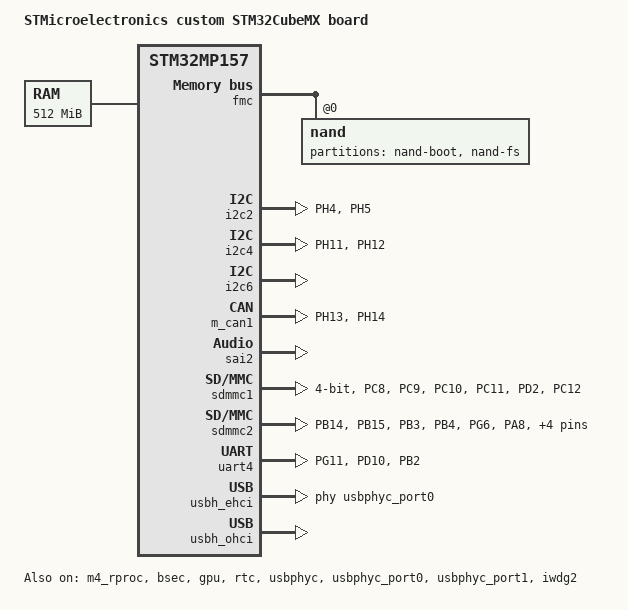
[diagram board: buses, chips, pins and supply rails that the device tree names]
/* SPDX-License-Identifier: (GPL-2.0+ OR BSD-3-Clause) */
/*
 * Copyright (C) STMicroelectronics 2019 - All Rights Reserved
 * Author: STM32CubeMX code generation for STMicroelectronics.
 */

/dts-v1/;
#include "stm32mp157c.dtsi"
#include "stm32mp157c-m4-srm.dtsi"
#include "stm32mp157caa-pinctrl.dtsi"
#include <dt-bindings/gpio/gpio.h>

/* USER CODE BEGIN includes */
/* USER CODE END includes */

/ {
	model = "STMicroelectronics custom STM32CubeMX board";
	compatible = "st,stm32mp157a-icorestm32-mx", "st,stm32mp157";
#if 0
    config {
            st,reset-phy-gpios = <&gpiod 10 GPIO_ACTIVE_LOW>;
    };
#endif
    memory@c0000000 {
        reg = <0xc0000000 0x20000000>;

        /* USER CODE BEGIN memory */
        /* USER CODE END memory */
    };

    reserved-memory {
        #address-cells = <1>;
        #size-cells = <1>;
        ranges;

        /* USER CODE BEGIN reserved-memory */
        /* USER CODE END reserved-memory */

        gpu_reserved: gpu@dc000000 {
            reg = <0xdc000000 0x4000000>;
            no-map;
        };
    };

	/* USER CODE BEGIN root */
    aliases {
		ethernet0 = &ethernet0;
		serial0 = &uart4;
	};

	chosen {
		stdout-path = "serial0:115200n8";
	};
	/* USER CODE END root */

    clocks {
        /* USER CODE BEGIN clocks */
        /* USER CODE END clocks */

        clk_lsi: clk-lsi {
            clock-frequency = <32000>;
        };
        clk_hsi: clk-hsi {
            clock-frequency = <64000000>;
        };
        clk_csi: clk-csi {
            clock-frequency = <4000000>;
        };
        clk_hse: clk-hse {
            clock-frequency = <24000000>;
        };
    };

}; /*root*/

&pinctrl {
    u-boot,dm-pre-reloc;
    eth1_pins_mx: eth1_mx-0 {
				pins-1 {
					pinmux =  <STM32_PINMUX('A', 1, AF0)>, /* ETH_CLK */
						 <STM32_PINMUX('A', 2, AF11)>, /* ETH_MDIO */
						 <STM32_PINMUX('C', 1, AF11)>, /* ETH_MDC */
						 <STM32_PINMUX('A', 7, AF11)>, /* ETH_RX_DV */
						 <STM32_PINMUX('B', 11, AF11)>, /* ETH_TX_EN */
						 <STM32_PINMUX('C', 4, AF11)>, /* ETH_RX_D0 */
						 <STM32_PINMUX('C', 5, AF11)>, /* ETH_RX_D1 */
						 <STM32_PINMUX('G', 13, AF11)>, /* ETH_TX_D0 */
						 <STM32_PINMUX('G', 14, AF11)>, /* ETH_TX_D1 */
						 <STM32_PINMUX('D', 10, GPIO)>;
					bias-disable;
					drive-push-pull;
					slew-rate = <3>;
				};
		
	pins-2 {
                    pinmux = <STM32_PINMUX('D', 10, GPIO)>;
                    bias-pull-up;
                    drive-push-pull;
                    output-low;
                    slew-rate = <0>;
				};
    };

    fdcan1_pins_mx: fdcan1_mx-0 {
        pins1 {
            pinmux = <STM32_PINMUX('H', 13, AF9)>; /* FDCAN1_TX */
            bias-disable;
            drive-push-pull;
            slew-rate = <0>;
        };
        pins2 {
            pinmux = <STM32_PINMUX('H', 14, AF9)>; /* FDCAN1_RX */
            bias-disable;
        };
    };
    fmc_pins_mx: fmc_mx-0 {
        u-boot,dm-pre-reloc;
        pins1 {
            u-boot,dm-pre-reloc;
            pinmux = <STM32_PINMUX('D', 0, AF12)>, /* FMC_D2 */
                     <STM32_PINMUX('D', 1, AF12)>, /* FMC_D3 */
                     <STM32_PINMUX('D', 4, AF12)>, /* FMC_NOE */
                     <STM32_PINMUX('D', 5, AF12)>, /* FMC_NWE */
                     <STM32_PINMUX('D', 11, AF12)>, /* FMC_CLE */
                     <STM32_PINMUX('D', 12, AF12)>, /* FMC_ALE */
                     <STM32_PINMUX('D', 14, AF12)>, /* FMC_D0 */
                     <STM32_PINMUX('D', 15, AF12)>, /* FMC_D1 */
                     <STM32_PINMUX('E', 7, AF12)>, /* FMC_D4 */
                     <STM32_PINMUX('E', 8, AF12)>, /* FMC_D5 */
                     <STM32_PINMUX('E', 9, AF12)>, /* FMC_D6 */
                     <STM32_PINMUX('E', 10, AF12)>, /* FMC_D7 */
                     <STM32_PINMUX('G', 9, AF12)>; /* FMC_NCE */
            bias-disable;
            drive-push-pull;
            slew-rate = <1>;
        };
        pins2 {
            u-boot,dm-pre-reloc;
            pinmux = <STM32_PINMUX('D', 6, AF12)>; /* FMC_NWAIT */
            bias-disable;
        };
    };
    i2c2_pins_mx: i2c2_mx-0 {
        pins {
            pinmux = <STM32_PINMUX('H', 4, AF4)>, /* I2C2_SCL */
                     <STM32_PINMUX('H', 5, AF4)>; /* I2C2_SDA */
            bias-disable;
            drive-open-drain;
            slew-rate = <0>;
        };
    };
    i2c4_pins_mx: i2c4_mx-0 {
        pins {
            pinmux = <STM32_PINMUX('H', 11, AF4)>, /* I2C4_SCL */
                     <STM32_PINMUX('H', 12, AF4)>; /* I2C4_SDA */
            bias-disable;
            drive-open-drain;
            slew-rate = <0>;
        };
    };
    sai2a_pins_mx: sai2a_mx-0 {
        pins {
            pinmux = <STM32_PINMUX('E', 0, AF10)>, /* SAI2_MCLK_A */
                     <STM32_PINMUX('I', 5, AF10)>, /* SAI2_SCK_A */
                     <STM32_PINMUX('I', 6, AF10)>, /* SAI2_SD_A */
                     <STM32_PINMUX('I', 7, AF10)>; /* SAI2_FS_A */
            bias-disable;
            drive-push-pull;
            slew-rate = <0>;
        };
    };
    sai2b_pins_mx: sai2b_mx-0 {
        pins {
            pinmux = <STM32_PINMUX('C', 0, AF8)>, /* SAI2_FS_B */
                     <STM32_PINMUX('E', 6, AF10)>, /* SAI2_MCLK_B */
                     <STM32_PINMUX('F', 11, AF10)>, /* SAI2_SD_B */
                     <STM32_PINMUX('H', 2, AF10)>; /* SAI2_SCK_B */
            bias-disable;
            drive-push-pull;
            slew-rate = <0>;
        };
    };
    sdmmc1_pins_mx: sdmmc1_mx-0 {
        u-boot,dm-pre-reloc;
        pins1 {
            u-boot,dm-pre-reloc;
            pinmux = <STM32_PINMUX('C', 8, AF12)>, /* SDMMC1_D0 */
                     <STM32_PINMUX('C', 9, AF12)>, /* SDMMC1_D1 */
                     <STM32_PINMUX('C', 10, AF12)>, /* SDMMC1_D2 */
                     <STM32_PINMUX('C', 11, AF12)>, /* SDMMC1_D3 */
                     <STM32_PINMUX('D', 2, AF12)>; /* SDMMC1_CMD */
            bias-pull-up;
            drive-push-pull;
            slew-rate = <1>;
        };
        pins2 {
            u-boot,dm-pre-reloc;
            pinmux = <STM32_PINMUX('C', 12, AF12)>; /* SDMMC1_CK */
            bias-disable;
            drive-push-pull;
            slew-rate = <3>;
        };
    };
    sdmmc2_pins_mx: sdmmc2_mx-0 {
        u-boot,dm-pre-reloc;
        pins1 {
            u-boot,dm-pre-reloc;
            pinmux = <STM32_PINMUX('B', 14, AF9)>, /* SDMMC2_D0 */
                    <STM32_PINMUX('B', 15, AF9)>, /* SDMMC2_D1 */
                    <STM32_PINMUX('B', 3, AF9)>, /* SDMMC2_D2 */
                    <STM32_PINMUX('B', 4, AF9)>, /* SDMMC2_D3 */
                    <STM32_PINMUX('G', 6, AF10)>, /* SDMMC2_CMD */
                    <STM32_PINMUX('A', 8, AF9)>, /* SDMMC2_D4 */
                    <STM32_PINMUX('A', 9, AF10)>, /* SDMMC2_D5 */
                    <STM32_PINMUX('E', 5, AF9)>, /* SDMMC2_D6 */
                    <STM32_PINMUX('D', 3, AF9)>; /* SDMMC2_D7 */
            slew-rate = <3>;
            drive-push-pull;
            bias-pull-up;
        };
        pins2 {
            u-boot,dm-pre-reloc;
            pinmux = <STM32_PINMUX('E', 3, AF9)>; /* SDMMC2_CK */
            bias-disable;
            drive-push-pull;
            slew-rate = <3>;
        };
    };

    uart4_pins_mx: uart4_mx-0 {
        u-boot,dm-pre-reloc;
        pins1 {
            u-boot,dm-pre-reloc;
            pinmux = <STM32_PINMUX('G', 11, AF6)>, /* UART4_TX */
                     <STM32_PINMUX('D', 10, GPIO)>;
            bias-disable;
            drive-push-pull;
            slew-rate = <0>;
        };
        pins2 {
            u-boot,dm-pre-reloc;
            pinmux = <STM32_PINMUX('B', 2, AF8)>; /* UART4_RX */
            bias-disable;
        };
    };
    eth1_sleep_pins_mx: eth1_sleep_mx-0 {
        pins {
            pinmux = <STM32_PINMUX('A', 1, ANALOG)>, /* ETH1_CLK */
                     <STM32_PINMUX('A', 2, ANALOG)>, /* ETH1_MDIO */
                     <STM32_PINMUX('A', 7, ANALOG)>, /* ETH1_CRS_DV */
                     <STM32_PINMUX('B', 11, ANALOG)>, /* ETH1_TX_EN */
                     <STM32_PINMUX('C', 1, ANALOG)>, /* ETH1_MDC */
                     <STM32_PINMUX('C', 4, ANALOG)>, /* ETH1_RXD0 */
                     <STM32_PINMUX('C', 5, ANALOG)>, /* ETH1_RXD1 */
                     <STM32_PINMUX('G', 8, ANALOG)>, /* ETH1_PPS_OUT */
                     <STM32_PINMUX('G', 13, ANALOG)>, /* ETH1_TXD0 */
                     <STM32_PINMUX('G', 14, ANALOG)>; /* ETH1_TXD1 */
        };
    };
    fdcan1_sleep_pins_mx: fdcan1_sleep_mx-0 {
        pins {
            pinmux = <STM32_PINMUX('H', 13, ANALOG)>, /* FDCAN1_TX */
                     <STM32_PINMUX('H', 14, ANALOG)>; /* FDCAN1_RX */
        };
    };
    fmc_sleep_pins_mx: fmc_sleep_mx-0 {
        u-boot,dm-pre-reloc;
        pins {
            u-boot,dm-pre-reloc;
            pinmux = <STM32_PINMUX('D', 0, ANALOG)>, /* FMC_D2 */
                     <STM32_PINMUX('D', 1, ANALOG)>, /* FMC_D3 */
                     <STM32_PINMUX('D', 4, ANALOG)>, /* FMC_NOE */
                     <STM32_PINMUX('D', 5, ANALOG)>, /* FMC_NWE */
                     <STM32_PINMUX('D', 6, ANALOG)>, /* FMC_NWAIT */
                     <STM32_PINMUX('D', 11, ANALOG)>, /* FMC_CLE */
                     <STM32_PINMUX('D', 12, ANALOG)>, /* FMC_ALE */
                     <STM32_PINMUX('D', 14, ANALOG)>, /* FMC_D0 */
                     <STM32_PINMUX('D', 15, ANALOG)>, /* FMC_D1 */
                     <STM32_PINMUX('E', 7, ANALOG)>, /* FMC_D4 */
                     <STM32_PINMUX('E', 8, ANALOG)>, /* FMC_D5 */
                     <STM32_PINMUX('E', 9, ANALOG)>, /* FMC_D6 */
                     <STM32_PINMUX('E', 10, ANALOG)>, /* FMC_D7 */
                     <STM32_PINMUX('G', 9, ANALOG)>; /* FMC_NCE */
        };
    };
    i2c2_sleep_pins_mx: i2c2_sleep_mx-0 {
        pins {
            pinmux = <STM32_PINMUX('H', 4, ANALOG)>, /* I2C2_SCL */
                     <STM32_PINMUX('H', 5, ANALOG)>; /* I2C2_SDA */
        };
    };
    i2c4_sleep_pins_mx: i2c4_sleep_mx-0 {
        pins {
            pinmux = <STM32_PINMUX('H', 11, ANALOG)>, /* I2C4_SCL */
                     <STM32_PINMUX('H', 12, ANALOG)>; /* I2C4_SDA */
        };
    };
    sai2a_sleep_pins_mx: sai2a_sleep_mx-0 {
        pins {
            pinmux = <STM32_PINMUX('E', 0, ANALOG)>, /* SAI2_MCLK_A */
                     <STM32_PINMUX('I', 5, ANALOG)>, /* SAI2_SCK_A */
                     <STM32_PINMUX('I', 6, ANALOG)>, /* SAI2_SD_A */
                     <STM32_PINMUX('I', 7, ANALOG)>; /* SAI2_FS_A */
        };
    };
    sai2b_sleep_pins_mx: sai2b_sleep_mx-0 {
        pins {
            pinmux = <STM32_PINMUX('C', 0, ANALOG)>, /* SAI2_FS_B */
                     <STM32_PINMUX('E', 6, ANALOG)>, /* SAI2_MCLK_B */
                     <STM32_PINMUX('F', 11, ANALOG)>, /* SAI2_SD_B */
                     <STM32_PINMUX('H', 2, ANALOG)>; /* SAI2_SCK_B */
        };
    };
    sdmmc1_sleep_pins_mx: sdmmc1_sleep_mx-0 {
        u-boot,dm-pre-reloc;
        pins {
            u-boot,dm-pre-reloc;
            pinmux = <STM32_PINMUX('C', 8, ANALOG)>, /* SDMMC1_D0 */
                     <STM32_PINMUX('C', 9, ANALOG)>, /* SDMMC1_D1 */
                     <STM32_PINMUX('C', 10, ANALOG)>, /* SDMMC1_D2 */
                     <STM32_PINMUX('C', 11, ANALOG)>, /* SDMMC1_D3 */
                     <STM32_PINMUX('C', 12, ANALOG)>, /* SDMMC1_CK */
                     <STM32_PINMUX('D', 2, ANALOG)>; /* SDMMC1_CMD */
        };
    };
    sdmmc2_sleep_pins_mx: sdmmc2_sleep_mx-0 {
        u-boot,dm-pre-reloc;
        pins {
            u-boot,dm-pre-reloc;
            pinmux = <STM32_PINMUX('A', 8, ANALOG)>, /* SDMMC2_D4 */
                     <STM32_PINMUX('A', 9, ANALOG)>, /* SDMMC2_D5 */
                     <STM32_PINMUX('B', 3, ANALOG)>, /* SDMMC2_D2 */
                     <STM32_PINMUX('B', 4, ANALOG)>, /* SDMMC2_D3 */
                     <STM32_PINMUX('B', 14, ANALOG)>, /* SDMMC2_D0 */
                     <STM32_PINMUX('B', 15, ANALOG)>, /* SDMMC2_D1 */
                     <STM32_PINMUX('D', 3, ANALOG)>, /* SDMMC2_D7 */
                     <STM32_PINMUX('E', 3, ANALOG)>, /* SDMMC2_CK */
                     <STM32_PINMUX('E', 5, ANALOG)>, /* SDMMC2_D6 */
                     <STM32_PINMUX('G', 6, ANALOG)>; /* SDMMC2_CMD */
        };
    };
    uart4_sleep_pins_mx: uart4_sleep_mx-0 {
        u-boot,dm-pre-reloc;
        pins {
            u-boot,dm-pre-reloc;
            pinmux = <STM32_PINMUX('B', 14, ANALOG)>, /* USART1_TX */
                     <STM32_PINMUX('B', 15, ANALOG)>; /* USART1_RX */
        };
    };
};
&pinctrl_z {
    u-boot,dm-pre-reloc;
    i2c6_pins_z_mx: i2c6_mx-0 {
        pins {
            pinmux = <STM32_PINMUX('Z', 3, AF2)>, /* I2C6_SDA */
                     <STM32_PINMUX('Z', 4, AF2)>; /* I2C6_SCL */
            bias-disable;
            drive-open-drain;
            slew-rate = <0>;
        };
    };
    i2c6_sleep_pins_z_mx: i2c6_sleep_mx-0 {
        pins {
            pinmux = <STM32_PINMUX('Z', 3, ANALOG)>, /* I2C6_SDA */
                     <STM32_PINMUX('Z', 4, ANALOG)>; /* I2C6_SCL */
        };
    };
};

&m4_rproc{
    recovery;
    status = "okay";

    /* USER CODE BEGIN m4_rproc */
    /* USER CODE END m4_rproc */
};

&bsec{
    status = "okay";

    /* USER CODE BEGIN bsec */
    /* USER CODE END bsec */
};


&fmc{
    u-boot,dm-pre-reloc;
    pinctrl-names = "default", "sleep";
    pinctrl-0 = <&fmc_pins_mx>;
    pinctrl-1 = <&fmc_sleep_pins_mx>;
    status = "okay";

    /* USER CODE BEGIN fmc */
    /* USER CODE END fmc */
};

&gpu{
    status = "okay";

    /* USER CODE BEGIN gpu */
    /* USER CODE END gpu */
};

&i2c2{
    pinctrl-names = "default", "sleep";
    pinctrl-0 = <&i2c2_pins_mx>;
    pinctrl-1 = <&i2c2_sleep_pins_mx>;
    status = "okay";

    /* USER CODE BEGIN i2c2 */
    /* USER CODE END i2c2 */
};

&i2c4{
    pinctrl-names = "default", "sleep";
    pinctrl-0 = <&i2c4_pins_mx>;
    pinctrl-1 = <&i2c4_sleep_pins_mx>;
    status = "okay";

    /* USER CODE BEGIN i2c4 */
    /* USER CODE END i2c4 */
};

&i2c6{
    pinctrl-names = "default", "sleep";
    pinctrl-0 = <&i2c6_pins_z_mx>;
    pinctrl-1 = <&i2c6_sleep_pins_z_mx>;
    status = "okay";

    /* USER CODE BEGIN i2c6 */
    /* USER CODE END i2c6 */
};

&ltdc{
    u-boot,dm-pre-reloc;
    status = "disabled";

    /* USER CODE BEGIN ltdc */
    /* USER CODE END ltdc */
};

&m_can1{
    pinctrl-names = "default", "sleep";
    pinctrl-0 = <&fdcan1_pins_mx>;
    pinctrl-1 = <&fdcan1_sleep_pins_mx>;
    status = "okay";

    /* USER CODE BEGIN m_can1 */
    /* USER CODE END m_can1 */
};

&rcc{
    u-boot,dm-pre-reloc;
    status = "okay";

    /* USER CODE BEGIN rcc */
    /* USER CODE END rcc */
};

&rtc{
    status = "okay";

    /* USER CODE BEGIN rtc */
    /* USER CODE END rtc */
};

&sai2{
    status = "okay";

    /* USER CODE BEGIN sai2 */
    /* USER CODE END sai2 */

    sai2a:audio-controller@4400b004{
        pinctrl-names = "default", "sleep";
        pinctrl-0 = <&sai2a_pins_mx>;
        pinctrl-1 = <&sai2a_sleep_pins_mx>;
        status = "okay";

        /* USER CODE BEGIN sai2a */
        /* USER CODE END sai2a */
    };

    sai2b:audio-controller@4400b024{
        pinctrl-names = "default", "sleep";
        pinctrl-0 = <&sai2b_pins_mx>;
        pinctrl-1 = <&sai2b_sleep_pins_mx>;
        status = "okay";

        /* USER CODE BEGIN sai2b */
        /* USER CODE END sai2b */
    };
};

&sdmmc1{
    u-boot,dm-pre-reloc;
    pinctrl-names = "default", "sleep";
    pinctrl-0 = <&sdmmc1_pins_mx>;
    pinctrl-1 = <&sdmmc1_sleep_pins_mx>;
    status = "okay";

    /* USER CODE BEGIN sdmmc1 */
	broken-cd;
    st,negedge;
    bus-width=<4>;
    /* USER CODE END sdmmc1 */
};

&sdmmc2{
    u-boot,dm-pre-reloc;
    pinctrl-names = "default", "sleep";
    pinctrl-0 = <&sdmmc2_pins_mx>;
    pinctrl-1 = <&sdmmc2_sleep_pins_mx>;
    status = "okay";

    /* USER CODE BEGIN sdmmc2 */
    /* USER CODE END sdmmc2 */
};

&uart4{
    u-boot,dm-pre-reloc;
    pinctrl-names = "default", "sleep";
    pinctrl-0 = <&uart4_pins_mx>;
    pinctrl-1 = <&uart4_sleep_pins_mx>;
    status = "okay";

    /* USER CODE BEGIN uart4 */
    /* USER CODE END uart4 */
};

&usbh_ehci{
    status = "okay";

    /* USER CODE BEGIN usbh_ehci */
   	phy-names = "usb";
	phys = <&usbphyc_port0>;

    /* USER CODE END usbh_ehci */
};

&usbh_ohci{
    status = "okay";

    /* USER CODE BEGIN usbh_ohci */
    /* USER CODE END usbh_ohci */
};


&usbphyc{
    status = "okay";

    /* USER CODE BEGIN usbphyc */
    /* USER CODE END usbphyc */
};

&usbphyc_port0{
    status = "okay";

    /* USER CODE BEGIN usbphyc_port0 */
    /* USER CODE END usbphyc_port0 */
};

&usbphyc_port1{
    status = "okay";

    /* USER CODE BEGIN usbphyc_port1 */
    /* USER CODE END usbphyc_port1 */
};

/* USER CODE BEGIN addons */

&iwdg2{
    status = "okay";
    secure-status = "okay";

    /* USER CODE BEGIN iwdg2 */
    instance = <2>;
    timeout-sec = <32>;
    /* USER CODE END iwdg2 */
};

&fmc {
	pinctrl-names = "default";
	pinctrl-0 = <&fmc_pins_a>;
	status = "okay";
	#address-cells = <1>;
	#size-cells = <0>;

	nand: nand@0 {
		reg = <0>;
		nand-on-flash-bbt;
		#address-cells = <1>;
		#size-cells = <1>;
		
        partition@0 {
            label = "nand-boot";
            reg = <0x00000000 0x01400000>;
        };

        partition@1400000 {
            label = "nand-fs";
            reg = <0x01400000 0x1e000000>;
        };
	};
};

&ethernet0 {
    pinctrl-names = "default";
    pinctrl-0 = <&eth1_pins_mx>;
	phy-mode = "rmii";
	max-speed = <100>;
	phy-handle = <&phy0>;
	snps,ps-speed = <100>;
    st,eth_ref_clk_sel;
	status = "disabled";

    clock-names = "stmmaceth",
                "mac-clk-tx",
                "mac-clk-rx",
                "ethstp",
                "syscfg-clk",
                "eth-ck";

    clocks = <&rcc ETHMAC>,
            <&rcc ETHTX>,
            <&rcc ETHRX>,
            <&rcc ETHSTP>,
            <&rcc SYSCFG>,
            <&rcc ETHCK>;
	
    mdio0 {
		#address-cells = <1>;
		#size-cells = <0>;
		compatible = "snps,dwmac-mdio";
		snps,reset-gpio = <&gpioa 13 0>;
		snps,reset-delays-us = <25>;
		snps,reset-active-low;

		phy0: ethernet-phy-0 {
			reg = <0>;
		};
	};
};


/* USER CODE END addons */

